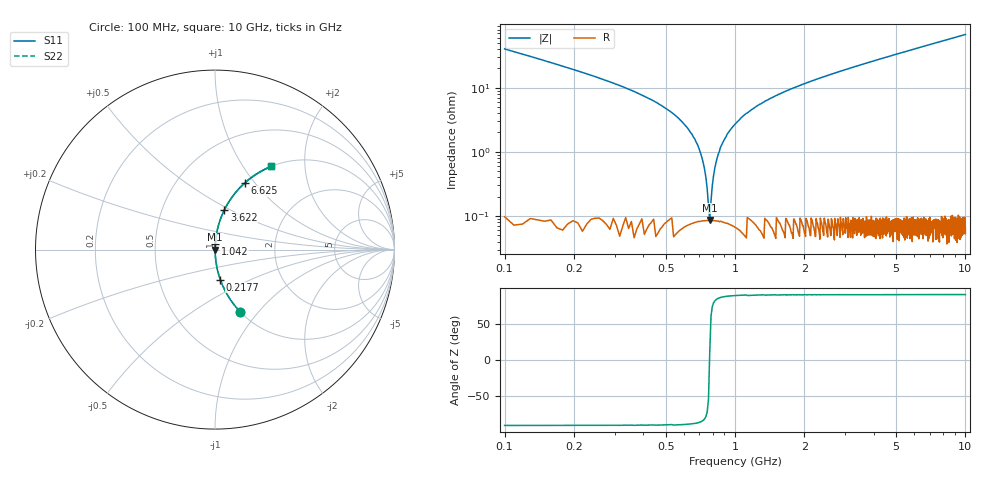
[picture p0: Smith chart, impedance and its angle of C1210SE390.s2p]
! AVX Thin Film Operation		Date: April 2012
! Description: Accu-P® Series, Thin Film, SMD, RF Capacitor
! Part Number: 12101J390FBTTR
!	100	MHz	-	10.05	GHz
!	Serial	Measurements
#	MHZ	S	MA	R	50
!	S11	S21	S12	S22
!	dB	Phase	dB	Phase	dB	Phase	dB	Phase
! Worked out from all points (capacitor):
!   1010 points, 100 MHz to 10 GHz, reference 50 ohm
!   read as one part in series: C = 39 pF near 149.1 MHz
!   lowest |Z| = 86.7 mohm at 777 MHz (marker M1)
!   series resonance near 775.8 MHz, so ESL is about 1.1 nH
!   S11 on the Smith chart (normalised r, x): 100 MHz: 1.00, -0.80; 217.7 MHz: 1.00, -0.35; 1.042 GHz: 1.00, +0.06; 3.622 GHz: 1.00, +0.47; 6.625 GHz: 1.00, +0.89; 10 GHz: 1.00, +1.35
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100  0.372 -68.0  0.927 21.9  0.927 21.9  0.372 -68.0
217.74  0.17 -80.0  0.985 9.8  0.985 9.8  0.17 -80.0
512.091  0.045 -86.5  0.998 2.6  0.998 2.6  0.045 -86.5
600.396  0.027 -87.0  0.999 1.6  0.999 1.6  0.027 -87.0
678.89  0.014 -86.3  0.999 0.8  0.999 0.8  0.014 -86.3
708.325  0.0096 -85.3  0.999 0.5  0.999 0.5  0.0096 -85.3
737.76  0.00533 -82.2  0.999 0.3  0.999 0.3  0.00533 -82.2
777.007  0.00072 13.5  0.999 -0.0  0.999 -0.0  0.00072 13.5
806.442  0.00414 80.0  0.999 -0.2  0.999 -0.2  0.00414 80.0
855.5  0.01 85.5  0.999 -0.6  0.999 -0.6  0.01 85.5
894.747  0.015 86.5  0.999 -0.9  0.999 -0.9  0.015 86.5
1041.923  0.031 86.9  0.999 -1.8  0.999 -1.8  0.031 86.9
1316.65  0.058 86.0  0.998 -3.3  0.998 -3.3  0.058 86.0
1758.176  0.096 84.1  0.995 -5.5  0.995 -5.5  0.096 84.1
2454.807  0.148 81.2  0.988 -8.5  0.988 -8.5  0.148 81.2
3406.541  0.214 77.5  0.976 -12.3  0.976 -12.3  0.214 77.5
3622.398  0.228 76.6  0.973 -13.2  0.973 -13.2  0.228 76.6
5054.906  0.317 71.4  0.948 -18.5  0.948 -18.5  0.317 71.4
6624.777  0.405 66.0  0.914 -23.9  0.914 -23.9  0.405 66.0
6703.271  0.409 65.8  0.912 -24.1  0.912 -24.1  0.409 65.8
8351.635  0.489 60.6  0.872 -29.3  0.872 -29.3  0.489 60.6
10000  0.559 56.0  0.829 -34.0  0.829 -34.0  0.559 56.0
